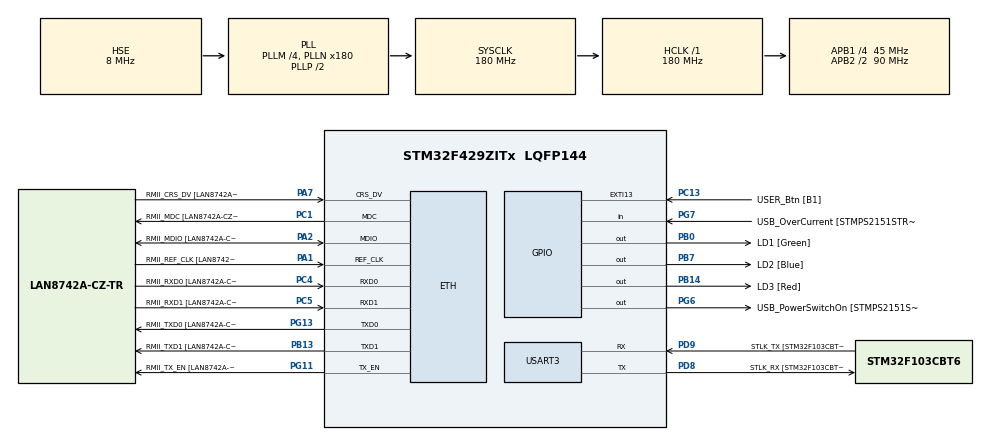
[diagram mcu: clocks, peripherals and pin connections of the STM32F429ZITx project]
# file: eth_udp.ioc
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ETH.MediaInterface=HAL_ETH_RMII_MODE
ETH.PHY_Name=LAN8742A_PHY_ADDRESS
ETH.PHY_Value=0
ETH.PhyAddress=0
FREERTOS.Tasks01=defaultTask,24,2048,StartDefaultTask,Default,NULL,Dynamic,NULL,NULL;LedTask,8,256,LedTaskFunct,Default,NULL,Dynamic,NULL,NULL
FREERTOS.configUSE_NEWLIB_REENTRANT=1
LWIP.BSP.number=1
LWIP.GATEWAY_ADDRESS=192.168.007.001
LWIP.IP_ADDRESS=192.168.007.187
LWIP.LWIP_DHCP=0
LWIP.LWIP_UDP=1
LWIP.NETMASK_ADDRESS=255.255.255.000
LWIP.Version=v2.1.2_Cube
LWIP0.BSP.STBoard=false
LWIP0.BSP.api=BSP_COMPONENT_DRIVER
LWIP0.BSP.component=LAN8742
LWIP0.BSP.instance=LAN8742
LWIP0.BSP.name=Driver_PHY
LWIP0.BSP.semaphore=S_LAN8742
LWIP0.BSP.solution=LAN8742
Mcu.Family=STM32F4
Mcu.Name=STM32F429ZITx
Mcu.Package=LQFP144
NVIC.ETH_IRQn=true\:5\:0\:false\:false\:true\:true\:false\:true\:true
NVIC.PriorityGroup=NVIC_PRIORITYGROUP_4
NVIC.TIM8_TRG_COM_TIM14_IRQn=true\:15\:0\:false\:false\:true\:false\:false\:true\:true
NVIC.TimeBase=TIM8_TRG_COM_TIM14_IRQn
NVIC.TimeBaseIP=TIM14
PA1.GPIO_Label=RMII_REF_CLK [LAN8742A-CZ-TR_REFCLK0]
PA1.Mode=RMII
PA1.Signal=ETH_REF_CLK
PA10.GPIO_Label=USB_ID
PA10.Signal=USB_OTG_FS_ID
PA11.GPIO_Label=USB_DM
PA11.Signal=USB_OTG_FS_DM
PA12.GPIO_Label=USB_DP
PA12.Signal=USB_OTG_FS_DP
PA13.GPIO_Label=TMS
PA13.Mode=Serial_Wire
PA13.Signal=SYS_JTMS-SWDIO
PA14.GPIO_Label=TCK
PA14.Mode=Serial_Wire
PA14.Signal=SYS_JTCK-SWCLK
PA2.GPIO_Label=RMII_MDIO [LAN8742A-CZ-TR_MDIO]
PA2.Mode=RMII
PA2.Signal=ETH_MDIO
PA7.GPIO_Label=RMII_CRS_DV [LAN8742A-CZ-TR_CRS_DV]
PA7.Mode=RMII
PA7.Signal=ETH_CRS_DV
PA8.GPIO_Label=USB_SOF [TP1]
PA8.Signal=USB_OTG_FS_SOF
PA9.GPIO_Label=USB_VBUS
PA9.Signal=USB_OTG_FS_VBUS
PB0.GPIO_Label=LD1 [Green]
PB0.Signal=GPIO_Output
PB13.GPIO_Label=RMII_TXD1 [LAN8742A-CZ-TR_TXD1]
PB13.Mode=RMII
PB13.Signal=ETH_TXD1
PB14.GPIO_Label=LD3 [Red]
PB14.Signal=GPIO_Output
PB7.GPIO_Label=LD2 [Blue]
PB7.Signal=GPIO_Output
PC1.GPIO_Label=RMII_MDC [LAN8742A-CZ-TR_MDC]
PC1.Mode=RMII
PC1.Signal=ETH_MDC
PC13.GPIO_Label=USER_Btn [B1]
PC13.Signal=GPXTI13
PC14/OSC32_IN.Mode=LSE-External-Oscillator
PC14/OSC32_IN.Signal=RCC_OSC32_IN
PC15/OSC32_OUT.Mode=LSE-External-Oscillator
PC15/OSC32_OUT.Signal=RCC_OSC32_OUT
PC4.GPIO_Label=RMII_RXD0 [LAN8742A-CZ-TR_RXD0]
PC4.Mode=RMII
PC4.Signal=ETH_RXD0
PC5.GPIO_Label=RMII_RXD1 [LAN8742A-CZ-TR_RXD1]
PC5.Mode=RMII
PC5.Signal=ETH_RXD1
PD8.GPIO_Label=STLK_RX [STM32F103CBT6_PA3]
PD8.Mode=Asynchronous
PD8.Signal=USART3_TX
PD9.GPIO_Label=STLK_TX [STM32F103CBT6_PA2]
PD9.Mode=Asynchronous
PD9.Signal=USART3_RX
PG11.GPIO_Label=RMII_TX_EN [LAN8742A-CZ-TR_TXEN]
PG11.Mode=RMII
PG11.Signal=ETH_TX_EN
PG13.GPIO_Label=RMII_TXD0 [LAN8742A-CZ-TR_TXD0]
PG13.Mode=RMII
PG13.Signal=ETH_TXD0
PG6.GPIO_Label=USB_PowerSwitchOn [STMPS2151STR_EN]
PG6.Signal=GPIO_Output
PG7.GPIO_Label=USB_OverCurrent [STMPS2151STR_FAULT]
PG7.Signal=GPIO_Input
PH0/OSC_IN.GPIO_Label=MCO [STM32F103CBT6_PA8]
PH0/OSC_IN.Mode=HSE-External-Clock-Source
PH0/OSC_IN.Signal=RCC_OSC_IN
PH1/OSC_OUT.Mode=HSE-External-Clock-Source
PH1/OSC_OUT.Signal=RCC_OSC_OUT
ProjectManager.HeapSize=0x2000
ProjectManager.StackSize=0x4000
ProjectManager.TargetToolchain=STM32CubeIDE
RCC.48MHZClocksFreq_Value=51428571.428571425
RCC.AHBFreq_Value=180000000
RCC.APB1CLKDivider=RCC_HCLK_DIV4
RCC.APB1Freq_Value=45000000
RCC.APB1TimFreq_Value=90000000
RCC.APB2CLKDivider=RCC_HCLK_DIV2
RCC.APB2Freq_Value=90000000
RCC.APB2TimFreq_Value=180000000
RCC.CortexFreq_Value=180000000
RCC.HCLKFreq_Value=180000000
RCC.HSE_VALUE=8000000
RCC.HSI_VALUE=16000000
RCC.PLLM=4
RCC.PLLMUL=RCC_PLL_MUL9
RCC.PLLN=180
RCC.PLLQ=7
RCC.PLLSourceVirtual=RCC_PLLSOURCE_HSE
RCC.PRESCALERUSB=RCC_USBCLKSOURCE_PLL_DIV1_5
RCC.SYSCLKFreq_VALUE=180000000
RCC.SYSCLKSource=RCC_SYSCLKSOURCE_PLLCLK
RCC.SYSCLKSourceVirtual=RCC_SYSCLKSOURCE_PLLCLK
RCC.USBFreq_Value=48000000
RCC.VCOOutputFreq_Value=360000000
USART3.VirtualMode=VM_ASYNC
VP_FREERTOS_VS_CMSIS_V2.Mode=CMSIS_V2
VP_LWIP_VS_Enabled.Mode=Enabled
VP_SYS_VS_tim14.Mode=TIM14
board=NUCLEO-F429ZI

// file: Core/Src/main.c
/* USER CODE BEGIN Header */
/**
  ******************************************************************************
  * @file           : main.c
  * @brief          : Main program body
  ******************************************************************************
  * @attention
  *
  * Copyright (c) 2024 STMicroelectronics.
  * All rights reserved.
  *
  * This software is licensed under terms that can be found in the LICENSE file
  * in the root directory of this software component.
  * If no LICENSE file comes with this software, it is provided AS-IS.
  *
  ******************************************************************************
  */
/* USER CODE END Header */
#include "main.h"
#include "cmsis_os.h"
#include "lwip.h"
#include "usart.h"
#include "gpio.h"

void SystemClock_Config(void);
void MX_FREERTOS_Init(void);

int main(void)
{

  /* MCU Configuration--------------------------------------------------------*/

  /* Reset of all peripherals, Initializes the Flash interface and the Systick. */
  HAL_Init();

  /* USER CODE BEGIN Init */
  void BSP_LED_On(Leds led)
  {
	  switch(led)
	  {
	  	  case LED1: { HAL_GPIO_WritePin(LD1_GPIO_Port, LD1_Pin, GPIO_PIN_SET); break; }
	  	  case LED2: { HAL_GPIO_WritePin(LD2_GPIO_Port, LD2_Pin, GPIO_PIN_SET); break; }
	  	  case LED3: { HAL_GPIO_WritePin(LD3_GPIO_Port, LD3_Pin, GPIO_PIN_SET); break; }
	  	default :{}
	  }
  }
  void BSP_LED_Off(Leds led)
  {
	  switch(led)
	 	  {
	 	  	  case LED1: { HAL_GPIO_WritePin(LD1_GPIO_Port, LD1_Pin, GPIO_PIN_RESET); break; }
	 	  	  case LED2: { HAL_GPIO_WritePin(LD2_GPIO_Port, LD2_Pin, GPIO_PIN_RESET); break; }
	 	  	  case LED3: { HAL_GPIO_WritePin(LD3_GPIO_Port, LD3_Pin, GPIO_PIN_RESET); break; }
	 	  	default :{}
	 	  }
  }
  /* USER CODE END Init */

  /* Configure the system clock */
  SystemClock_Config();

  /* Initialize all configured peripherals */
  MX_GPIO_Init();
  MX_USART3_UART_Init();

  /* Init scheduler */
  osKernelInitialize();  /* Call init function for freertos objects (in freertos.c) */
  MX_FREERTOS_Init();

  /* Start scheduler */
  osKernelStart();
  /* We should never get here as control is now taken by the scheduler */
  /* Infinite loop */
  while (1)
  {

  }
}

void SystemClock_Config(void)
{
  RCC_OscInitTypeDef RCC_OscInitStruct = {0};
  RCC_ClkInitTypeDef RCC_ClkInitStruct = {0};

  /** Configure the main internal regulator output voltage
  */
  __HAL_RCC_PWR_CLK_ENABLE();
  __HAL_PWR_VOLTAGESCALING_CONFIG(PWR_REGULATOR_VOLTAGE_SCALE1);

  /** Initializes the RCC Oscillators according to the specified parameters
  * in the RCC_OscInitTypeDef structure.
  */
  RCC_OscInitStruct.OscillatorType = RCC_OSCILLATORTYPE_HSE;
  RCC_OscInitStruct.HSEState = RCC_HSE_BYPASS;
  RCC_OscInitStruct.PLL.PLLState = RCC_PLL_ON;
  RCC_OscInitStruct.PLL.PLLSource = RCC_PLLSOURCE_HSE;
  RCC_OscInitStruct.PLL.PLLM = 4;
  RCC_OscInitStruct.PLL.PLLN = 180;
  RCC_OscInitStruct.PLL.PLLP = RCC_PLLP_DIV2;
  RCC_OscInitStruct.PLL.PLLQ = 7;
  if (HAL_RCC_OscConfig(&RCC_OscInitStruct) != HAL_OK)
  {
    Error_Handler();
  }

  /** Activate the Over-Drive mode
  */
  if (HAL_PWREx_EnableOverDrive() != HAL_OK)
  {
    Error_Handler();
  }

  /** Initializes the CPU, AHB and APB buses clocks
  */
  RCC_ClkInitStruct.ClockType = RCC_CLOCKTYPE_HCLK|RCC_CLOCKTYPE_SYSCLK
                              |RCC_CLOCKTYPE_PCLK1|RCC_CLOCKTYPE_PCLK2;
  RCC_ClkInitStruct.SYSCLKSource = RCC_SYSCLKSOURCE_PLLCLK;
  RCC_ClkInitStruct.AHBCLKDivider = RCC_SYSCLK_DIV1;
  RCC_ClkInitStruct.APB1CLKDivider = RCC_HCLK_DIV4;
  RCC_ClkInitStruct.APB2CLKDivider = RCC_HCLK_DIV2;

  if (HAL_RCC_ClockConfig(&RCC_ClkInitStruct, FLASH_LATENCY_5) != HAL_OK)
  {
    Error_Handler();
  }
}

void HAL_TIM_PeriodElapsedCallback(TIM_HandleTypeDef *htim)
{
  if (htim->Instance == TIM14) {
    HAL_IncTick();
  }
}

void Error_Handler(void)
{
  __disable_irq();
  while (1)
  {
  }
}

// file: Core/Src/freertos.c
/* USER CODE BEGIN Header */
/**
  ******************************************************************************
  * File Name          : freertos.c
  * Description        : Code for freertos applications
  ******************************************************************************
  * @attention
  *
  * Copyright (c) 2024 STMicroelectronics.
  * All rights reserved.
  *
  * This software is licensed under terms that can be found in the LICENSE file
  * in the root directory of this software component.
  * If no LICENSE file comes with this software, it is provided AS-IS.
  *
  ******************************************************************************
  */
/* USER CODE END Header */

#include "FreeRTOS.h"
#include "task.h"
#include "main.h"
#include "cmsis_os.h"

/* USER CODE BEGIN Includes */
#include "udp_echoclient.h"
#include "stdio.h"
/* USER CODE END Includes */

/* Definitions for defaultTask */
osThreadId_t defaultTaskHandle;
const osThreadAttr_t defaultTask_attributes = {
  .name = "defaultTask",
  .stack_size = 2048 * 4,
  .priority = (osPriority_t) osPriorityNormal,
};
/* Definitions for LedTask */
osThreadId_t LedTaskHandle;
const osThreadAttr_t LedTask_attributes = {
  .name = "LedTask",
  .stack_size = 256 * 4,
  .priority = (osPriority_t) osPriorityLow,
};

void StartDefaultTask(void *argument);
void LedTaskFunct(void *argument);

extern void MX_LWIP_Init(void);
void MX_FREERTOS_Init(void); /* (MISRA C 2004 rule 8.1) */

void MX_FREERTOS_Init(void) {

  /* Create the thread(s) */
  /* creation of defaultTask */
  defaultTaskHandle = osThreadNew(StartDefaultTask, NULL, &defaultTask_attributes);

  /* creation of LedTask */
  LedTaskHandle = osThreadNew(LedTaskFunct, NULL, &LedTask_attributes);

}

void StartDefaultTask(void *argument)
{
  /* init code for LWIP */
  MX_LWIP_Init();
  /* USER CODE BEGIN StartDefaultTask */
  udp_echoclient_connect();
  /* Infinite loop */
  for(;;)
  {
    osThreadTerminate(defaultTaskHandle);

    osDelay(1);
  }
  /* USER CODE END StartDefaultTask */
}

void LedTaskFunct(void *argument)
{
  /* USER CODE BEGIN LedTaskFunct */
  /* Infinite loop */
  for(;;)
  {
	HAL_GPIO_TogglePin(LD3_GPIO_Port, LD3_Pin);
	//printf("1\r\n");
	my_send_udp("test\r\n", 6);
	//udp_echoclient_send();
    osDelay(1000);
  }
  /* USER CODE END LedTaskFunct */
}
